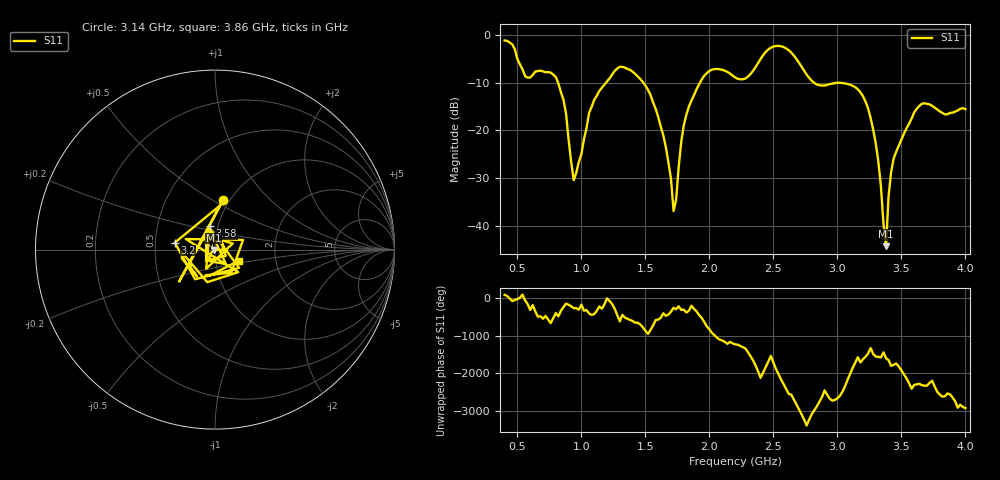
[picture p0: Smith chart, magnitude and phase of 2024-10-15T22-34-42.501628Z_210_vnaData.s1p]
! Created with skrf (http://scikit-rf.org).
# Hz S RI R 50.0
!freq ReS11 ImS11
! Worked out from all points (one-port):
!   181 points, 400 MHz to 4 GHz, reference 50 ohm
!   lowest |S11| = -44.2 dB at 3.38 GHz (marker M1), VSWR 1.01, Z = 49.4 - j0.162 ohm
!   |S11| at or under -10 dB: 817.3 MHz to 1.193 GHz (375.5 MHz wide, 37.4 % of centre); 1.483 GHz to 1.927 GHz (444 MHz wide, 26 % of centre); 2.816 GHz to end of sweep
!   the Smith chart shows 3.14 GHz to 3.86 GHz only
!   S11 on the Smith chart (normalised r, x): 3.14 GHz: 0.93, +0.56; 3.2 GHz: 0.63, +0.05; 3.58 GHz: 0.92, +0.24; 3.86 GHz: 1.30, -0.16
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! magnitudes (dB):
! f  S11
! 400 MHz  -1.2
! 560 MHz  -8.7
! 800 MHz  -8.9
! 860 MHz  -13.6
! 940 MHz  -30.4
! 1.1 GHz  -13.6
! 1.3 GHz  -6.7
! 1.54 GHz  -12.6
! 1.66 GHz  -23.6
! 1.72 GHz  -36.9
! 1.76 GHz  -27.7
! 1.82 GHz  -16.7
! 1.94 GHz  -9.4
! 2.2 GHz  -8.9
! 2.5 GHz  -2.5
! 2.66 GHz  -4.4
! 2.84 GHz  -10.4
! 3.1 GHz  -10.5
! 3.14 GHz  -11.0
! 3.2 GHz  -12.9
! 3.3 GHz  -22.8
! 3.38 GHz  -44.2
! 3.42 GHz  -28.7
! 3.56 GHz  -18.6
! 3.58 GHz  -17.5
! 3.68 GHz  -14.3
! 3.86 GHz  -16.7
! 4 GHz  -15.5
